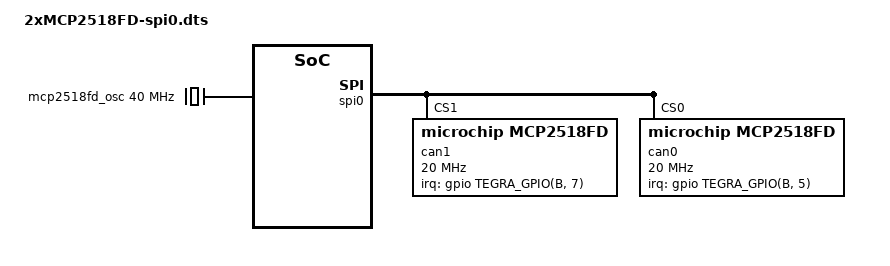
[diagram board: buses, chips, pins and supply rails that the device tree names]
// SPDX-License-Identifier: GPL-2.0-only
/*
 * Jetson Device-tree overlay for
 *   2 Channel CAN BUS FD Shield, MCP2518FD (RPi Compatible).
 *
 * Copyright (c) 2020 Seeed Technology Co,Ltd - https://www.seeed.cc.
 * All rights reserved.
 *
 */

/*
 * All three configurations work.
 *
 * 1. cs_gpios as chip selects, set MCP_USING_CS_GPIOS to 1
 * 2. controller hardware chip selects, with nvidia,always-hw-cs
 * 3. controller software chip selects, without nvidia,always-hw-cs
 *
 */
#define MCP_USING_CS_GPIOS    0

/dts-v1/;
/plugin/;

#include <dt-bindings/pinctrl/tegra210-p3448-0000-p3449-0000-a02.h>
#include <dt-bindings/interrupt-controller/irq.h>
#include <dt-bindings/pinctrl/pinctrl-tegra.h>
#include <dt-bindings/gpio/tegra-gpio.h>

/ {
	overlay-name = "Seeed 2xMCP2518FD";
	compatible = JETSON_COMPATIBLE;

	fragment@0 {
		target-path = "/spi@7000d400/spi@0";
		__overlay__ {
			status = "disabled";
		};
	};

	fragment@1{
		target-path = "/spi@7000d400/spi@1";
		__overlay__ {
			status = "disabled";
		};
	};

	fragment@4 {
		target-path = "/";
		__overlay__ {
			clocks {
				mcp2518fd_osc: mcp2518fd_osc {
					compatible = "fixed-clock";
					#clock-cells = <0x0>;
					clock-frequency = <40000000>;
					/* clock-accuracy = <100>; */
					clock-output-names = "mcp2518fd_osc";
					status = "okay";
				};
			};
		};
	};

	fragment@5 {
		target = <&spi0>;
		__overlay__ {
			/* avoid dtc warning */
			#address-cells = <1>;
			#size-cells = <0>;
			compatible = "nvidia,tegra210p-spi";
			pinctrl-names = "default";
			pinctrl-0 = <&spi0_pinmux>;
			#if MCP_USING_CS_GPIOS
			cs-gpios = <&gpio TEGRA_GPIO(C, 3) GPIO_ACTIVE_HIGH>,
			           <&gpio TEGRA_GPIO(C, 4) GPIO_ACTIVE_HIGH>;
			#else
			nvidia,always-hw-cs;
			#endif

			can1: can@1 {
				compatible = "microchip,mcp2518fd";
				status = "okay";
				reg = <0x1>;
				clocks = <&mcp2518fd_osc>;
				interrupt-parent = <&gpio>;
				/* RPi GPIO24, HDR PIN18, TEGRA spi2_cs0_pb7 */
				interrupts = <TEGRA_GPIO(B, 7) IRQ_TYPE_LEVEL_LOW>;
				spi-max-frequency = <20000000>;
				controller-data {
					/* nvidia,enable-hw-based-cs; */
					nvidia,cs-setup-clk-count = <0xF>;
					nvidia,cs-hold-clk-count = <0xF>;
					nvidia,tx-clk-tap-delay = <0x7>;
					nvidia,rx-clk-tap-delay = <0x0>;
				};
			};

			can0: can@0 {
				compatible = "microchip,mcp2518fd";
				status = "okay";
				reg = <0x0>;
				clocks = <&mcp2518fd_osc>;
				interrupt-parent = <&gpio>;
				/* RPi GPIO25, HDR PIN22, TEGRA spi2_miso_pb5 */
				interrupts = <TEGRA_GPIO(B, 5) IRQ_TYPE_LEVEL_LOW>;
				spi-max-frequency = <20000000>;
				controller-data {
					/* nvidia,enable-hw-based-cs; */
					nvidia,cs-setup-clk-count = <0xF>;
					nvidia,cs-hold-clk-count = <0xF>;
					nvidia,tx-clk-tap-delay = <0x7>;
					nvidia,rx-clk-tap-delay = <0x0>;
				};
			};
		};
	};

	fragment@10 {
		target = <&pinmux>;
		__overlay__ {
			spi0_pinmux: header-40pin-spi0-pinmux {
				/* can1 /intr */
				pin18 {
					nvidia,pins = "spi2_cs0_pb7";
					nvidia,function = "rsvd2";
					nvidia,pull = <TEGRA_PIN_PULL_UP>;
					nvidia,tristate = <TEGRA_PIN_DISABLE>;
					nvidia,enable-input = <TEGRA_PIN_ENABLE>;
				};
				/* can0 /intr */
				pin22 {
					nvidia,pins = "spi2_miso_pb5";
					nvidia,function = "rsvd2";
					nvidia,pull = <TEGRA_PIN_PULL_UP>;
					nvidia,tristate = <TEGRA_PIN_DISABLE>;
					nvidia,enable-input = <TEGRA_PIN_ENABLE>;
				};
				pin19 {
					nvidia,pins = "spi1_mosi_pc0";
					nvidia,function = "spi1";
					nvidia,pull = <TEGRA_PIN_PULL_DOWN>;
					nvidia,tristate = <TEGRA_PIN_DISABLE>;
					nvidia,enable-input = <TEGRA_PIN_ENABLE>;
				};
				pin21 {
					nvidia,pins = "spi1_miso_pc1";
					nvidia,function = "spi1";
					nvidia,pull = <TEGRA_PIN_PULL_DOWN>;
					nvidia,tristate = <TEGRA_PIN_DISABLE>;
					nvidia,enable-input = <TEGRA_PIN_ENABLE>;
				};
				pin23 {
					nvidia,pins = "spi1_sck_pc2";
					nvidia,function = "spi1";
					nvidia,pull = <TEGRA_PIN_PULL_DOWN>;
					nvidia,tristate = <TEGRA_PIN_DISABLE>;
					nvidia,enable-input = <TEGRA_PIN_ENABLE>;
				};
				/* spi0.cs0 */
				pin24 {
					nvidia,pins = "spi1_cs0_pc3";
					#if MCP_USING_CS_GPIOS
					nvidia,function = "rsvd1";
					#else
					nvidia,function = "spi1";
					#endif
					nvidia,pull = <TEGRA_PIN_PULL_UP>;
					nvidia,tristate = <TEGRA_PIN_DISABLE>;
					nvidia,enable-input = <TEGRA_PIN_ENABLE>;
				};
				/* spi0.cs1 */
				pin26 {
					nvidia,pins = "spi1_cs1_pc4";
					#if MCP_USING_CS_GPIOS
					nvidia,function = "rsvd1";
					#else
					nvidia,function = "spi1";
					#endif
					nvidia,pull = <TEGRA_PIN_PULL_UP>;
					nvidia,tristate = <TEGRA_PIN_DISABLE>;
					nvidia,enable-input = <TEGRA_PIN_ENABLE>;
				};
			};
		};
	};
};
